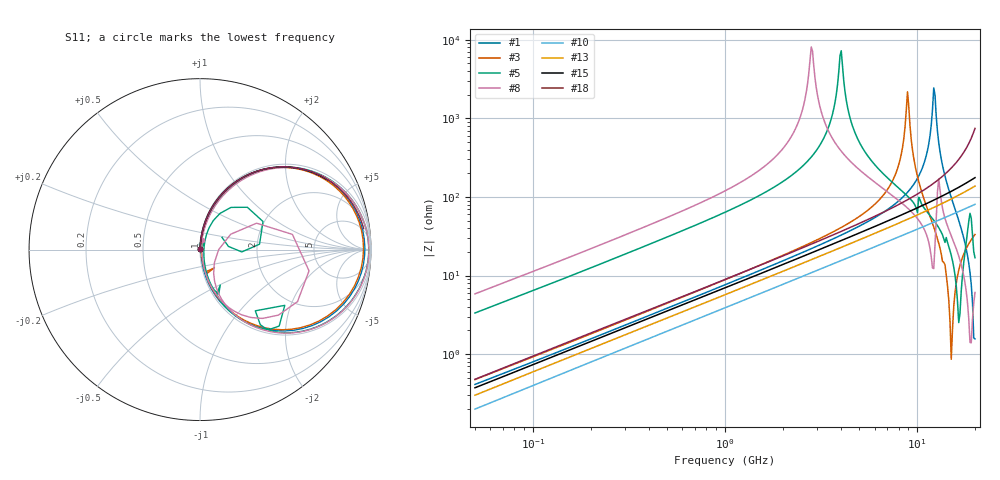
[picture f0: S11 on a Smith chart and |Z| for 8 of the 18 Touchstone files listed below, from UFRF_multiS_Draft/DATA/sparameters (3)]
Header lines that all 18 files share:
!These Parameters are Measured in Series Mode Connection
!  o--[Z]--o
!Port1  Port2
!  o-------o
!Freq. Start=50[MHz] Stop=20[GHz], 401[Steps]
# Hz S RI R 50
!Freq.(Hz) S11(Real) S11(Imag) S21(Real) S21(Imag) S12(Real) S12(Imag) S22(Real) S22(Imag)
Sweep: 50 MHz to 20 GHz
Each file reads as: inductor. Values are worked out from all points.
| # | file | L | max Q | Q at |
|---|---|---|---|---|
| 1 | LQG15HH1N0B02_series.s2p | 1.29 nH | 68.8 | 2.811 GHz |
| 2 | LQG15HH1N1B02_series.s2p | 1.4 nH | 63.3 | 2.728 GHz |
| 3 | LQG15HH1N2B02_series.s2p | 1.49 nH | 59.4 | 2.531 GHz |
| 4 | LQG15HH1N3B02_series.s2p | 1.56 nH | 58.2 | 2.456 GHz |
| 5 | LQG15HH10NH02_series.s2p | 10.4 nH | 30.1 | 1.521 GHz |
| 6 | LQG15HH12NG02_series.s2p | 12.2 nH | 27 | 1.179 GHz |
| 7 | LQG15HH15NG02_series.s2p | 15.3 nH | 25.8 | 1.127 GHz |
| 8 | LQG15HH18NG02_series.s2p | 18.2 nH | 25 | 1.062 GHz |
| 9 | LQP03TN0N6BZ2_series.s2p | 269 pH | 95.9 | 2.896 GHz |
| 10 | LQP15MN1N0B02_series.s2p | 634 pH | 80.6 | 3.122 GHz |
| 11 | LQP15MN1N1B02_series.s2p | 743 pH | 78.9 | 3.85 GHz |
| 12 | LQP15MN1N2B02_series.s2p | 846 pH | 71.2 | 3.793 GHz |
| 13 | LQP15MN1N3B02_series.s2p | 944 pH | 59.4 | 4.088 GHz |
| 14 | LQP15MN1N4W02_series.s2p | 1.06 nH | 52.7 | 4.027 GHz |
| 15 | LQP15MN1N5B02_series.s2p | 1.16 nH | 50.5 | 4.212 GHz |
| 16 | LQP15MN1N6B02_series.s2p | 1.27 nH | 41.6 | 4.472 GHz |
| 17 | LQP15MN1N7W02_series.s2p | 1.39 nH | 48 | 3.736 GHz |
| 18 | LQP15MN1N8B02_series.s2p | 1.5 nH | 48.8 | 3.736 GHz |
